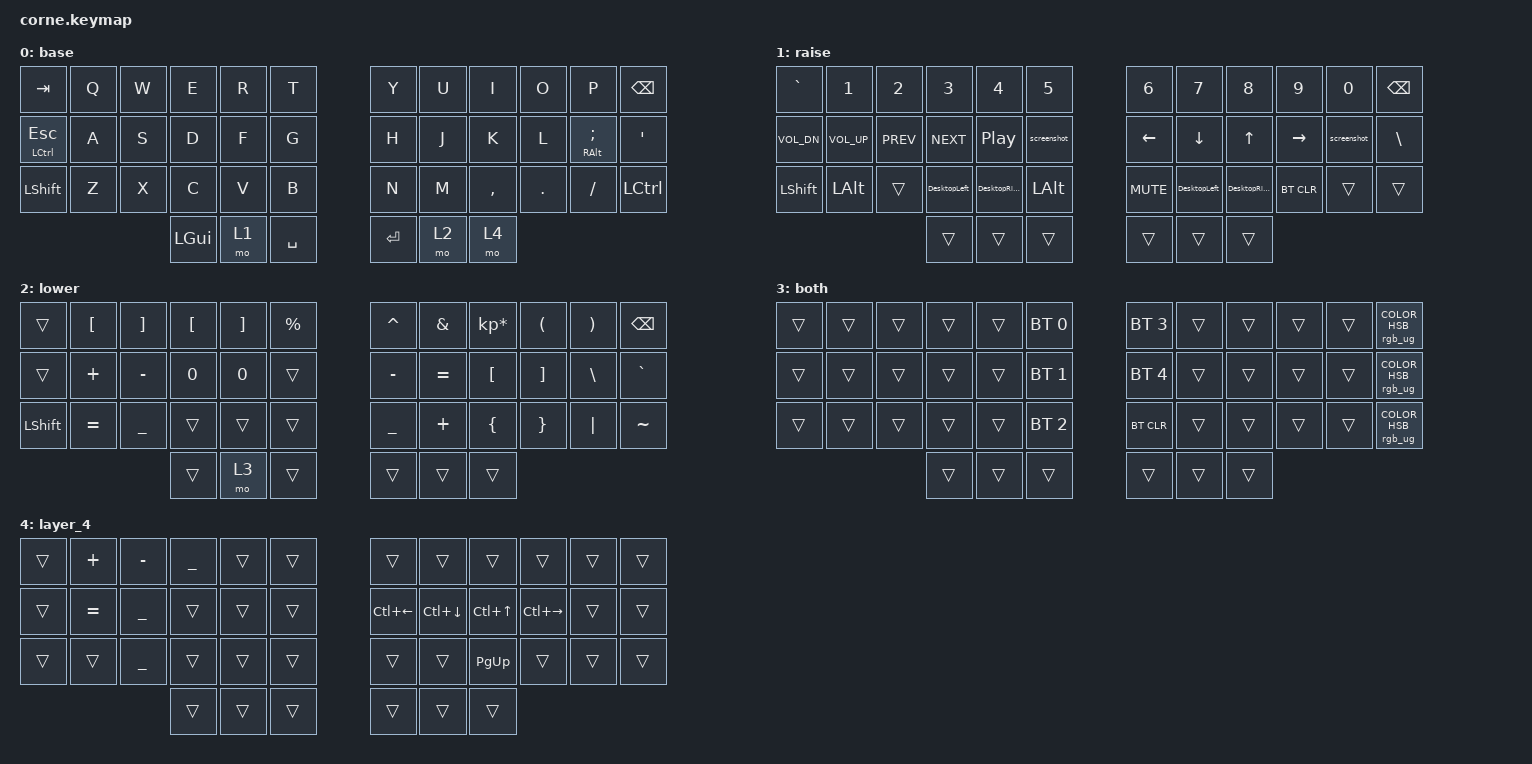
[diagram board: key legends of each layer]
/*
 * Copyright (c) 2020 The ZMK Contributors
 *
 * SPDX-License-Identifier: MIT
 */

#include <behaviors.dtsi>
#include <dt-bindings/zmk/bt.h>
#include <dt-bindings/zmk/keys.h>
#include <dt-bindings/zmk/rgb.h>

// dt-formatter: indent = "  "
// dt-formatter: reindentMultilineIntegerCells = "dedent"

/ {
  behaviors {
    hm: homerow_mods {
      compatible = "zmk,behavior-hold-tap";
      label = "HOMEROW_MODS";
      #binding-cells = <2>;
      tapping-term-ms = <150>;
      quick-tap-ms = <0>;
      flavor = "tap-preferred";
      bindings = <&kp>, <&kp>;
    };
  };

  combos {
    compatible = "zmk,combos";

    tab {
      bindings = <&trans>;
      key-positions = <2 3>;
    };

    ctrl {
      bindings = <&kp LCTRL>;
      key-positions = <26 27>;
    };

    cmd {
      bindings = <&kp LCMD>;
      key-positions = <37 38>;
    };

    alt {
      bindings = <&kp LEFT_ALT>;
      key-positions = <39 40>;
    };

    shift {
      bindings = <&kp LSHIFT>;
      key-positions = <8 9>;
    };

    caps_word {
      bindings = <&caps_word>;
      key-positions = <17 18>;
    };

    delete {
      bindings = <&kp DEL>;
      key-positions = <32 33>;
    };
  };

  macros {
    zed_em_kay: zed_em_kay {
      compatible = "zmk,behavior-macro";
      label = "ZM_zed_em_kay";
      #binding-cells = <0>;
      bindings =
        <&macro_press>,
        <&kp LSHFT>,
        <&macro_tap>,
        <&kp Z &kp M &kp K>,
        <&macro_release>,
        <&kp LSHFT>;
    };

    screenshot: screenshot {
      compatible = "zmk,behavior-macro";
      label = "SCREENSHOT";
      #binding-cells = <0>;
      bindings = <&kp LS(LC(LG(NUMBER_4)))>;
    };

    DesktopLeft: DesktopLeft {
      compatible = "zmk,behavior-macro";
      #binding-cells = <0>;
      bindings = <&kp LC(LEFT)>;
      label = "DESKTOPLEFT";
    };

    DesktopRight: DesktopRight {
      compatible = "zmk,behavior-macro";
      #binding-cells = <0>;
      bindings = <&kp LC(RIGHT)>;
      label = "DESKTOPRIGHT";
    };
  };

  keymap {
    compatible = "zmk,keymap";

    base {
      bindings = <
&kp TAB                  &kp Q  &kp W  &kp E     &kp R  &kp T        &kp Y    &kp U  &kp I      &kp O    &kp P               &kp BACKSPACE
&hm LEFT_CONTROL ESCAPE  &kp A  &kp S  &kp D     &kp F  &kp G        &kp H    &kp J  &kp K      &kp L    &hm RIGHT_ALT SEMI  &kp APOS
&kp LSHFT                &kp Z  &kp X  &kp C     &kp V  &kp B        &kp N    &kp M  &kp COMMA  &kp DOT  &kp FSLH            &kp LEFT_CONTROL
                                       &kp LGUI  &mo 1  &kp SPACE    &kp RET  &mo 2  &mo 4
      >;
    };

    raise {
      bindings = <
&kp GRAVE       &kp N1        &kp N2      &kp N3        &kp N4            &kp N5          &kp N6      &kp N7        &kp N8         &kp N9      &kp N0       &kp BACKSPACE
&kp C_VOL_DN    &kp C_VOL_UP  &kp C_PREV  &kp C_NEXT    &kp C_PLAY_PAUSE  &screenshot     &kp LEFT    &kp DOWN      &kp UP         &kp RIGHT   &screenshot  &kp BACKSLASH
&kp LEFT_SHIFT  &kp LEFT_ALT  &trans      &DesktopLeft  &DesktopRight     &kp LEFT_ALT    &kp C_MUTE  &DesktopLeft  &DesktopRight  &bt BT_CLR  &trans       &trans
                                          &trans        &trans            &trans          &trans      &trans        &trans
      >;
    };

    lower {
      bindings = <
&trans      &kp LEFT_BRACKET  &kp RIGHT_BRACKET  &kp LEFT_BRACKET  &kp RIGHT_BRACKET  &kp PRCNT    &kp CARET  &kp AMPS   &kp KP_MULTIPLY  &kp LPAR  &kp RPAR  &kp BACKSPACE
&trans      &kp PLUS          &kp MINUS          &kp 0             &kp 0              &trans       &kp MINUS  &kp EQUAL  &kp LBKT         &kp RBKT  &kp BSLH  &kp GRAVE
&kp LSHIFT  &kp EQUAL         &kp UNDERSCORE     &trans            &trans             &trans       &kp UNDER  &kp PLUS   &kp LBRC         &kp RBRC  &kp PIPE  &kp TILDE
                                                 &trans            &mo 3              &trans       &trans     &trans     &trans
      >;
    };

    both {
      bindings = <
&trans  &trans  &trans  &trans  &trans  &bt BT_SEL 0    &bt BT_SEL 3  &trans  &trans  &trans  &trans  &rgb_ug RGB_COLOR_HSB(0,60,50)
&trans  &trans  &trans  &trans  &trans  &bt BT_SEL 1    &bt BT_SEL 4  &trans  &trans  &trans  &trans  &rgb_ug RGB_COLOR_HSB(120,60,50)
&trans  &trans  &trans  &trans  &trans  &bt BT_SEL 2    &bt BT_CLR    &trans  &trans  &trans  &trans  &rgb_ug RGB_COLOR_HSB(240,60,50)
                        &trans  &trans  &trans          &trans        &trans  &trans
      >;
    };

    layer_4 {
      bindings = <
&trans  &kp PLUS   &kp MINUS       &kp UNDERSCORE  &trans  &trans    &trans              &trans        &trans            &trans               &trans  &trans
&trans  &kp EQUAL  &kp UNDERSCORE  &trans          &trans  &trans    &kp LC(LEFT_ARROW)  &kp LC(DOWN)  &kp LC(UP_ARROW)  &kp LC(RIGHT_ARROW)  &trans  &trans
&trans  &trans     &kp UNDER       &trans          &trans  &trans    &trans              &trans        &kp PAGE_UP       &trans               &trans  &trans
                                   &trans          &trans  &trans    &trans              &trans        &trans
      >;
    };
  };
};
